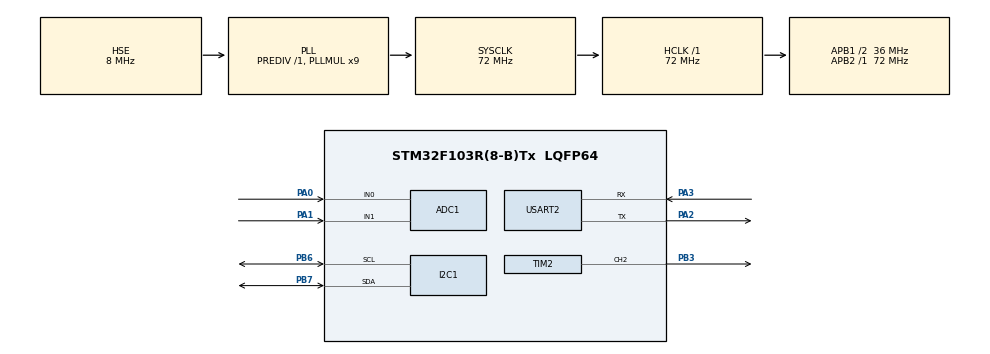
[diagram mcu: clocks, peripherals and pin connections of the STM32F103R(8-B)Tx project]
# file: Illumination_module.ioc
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ADC1.Channel-0\#ChannelRegularConversion=ADC_CHANNEL_0
ADC1.Channel-1\#ChannelRegularConversion=ADC_CHANNEL_1
ADC1.ContinuousConvMode=ENABLE
ADC1.NbrOfConversion=2
ADC1.NbrOfConversionFlag=1
ADC1.Rank-0\#ChannelRegularConversion=1
ADC1.Rank-1\#ChannelRegularConversion=2
ADC1.SamplingTime-0\#ChannelRegularConversion=ADC_SAMPLETIME_71CYCLES_5
ADC1.SamplingTime-1\#ChannelRegularConversion=ADC_SAMPLETIME_71CYCLES_5
ADC1.master=1
Dma.ADC1.0.Direction=DMA_PERIPH_TO_MEMORY
Dma.ADC1.0.Instance=DMA1_Channel1
Dma.ADC1.0.MemDataAlignment=DMA_MDATAALIGN_HALFWORD
Dma.ADC1.0.MemInc=DMA_MINC_ENABLE
Dma.ADC1.0.Mode=DMA_CIRCULAR
Dma.ADC1.0.PeriphDataAlignment=DMA_PDATAALIGN_HALFWORD
Dma.ADC1.0.PeriphInc=DMA_PINC_DISABLE
Dma.ADC1.0.Priority=DMA_PRIORITY_LOW
Dma.Request0=ADC1
Mcu.Family=STM32F1
Mcu.Name=STM32F103R(8-B)Tx
Mcu.Package=LQFP64
NVIC.ADC1_2_IRQn=true\:0\:0\:false\:false\:true\:true\:true
NVIC.DMA1_Channel1_IRQn=true\:0\:0\:false\:false\:true\:false\:true
NVIC.PriorityGroup=NVIC_PRIORITYGROUP_4
PA0-WKUP.Signal=ADCx_IN0
PA1.Signal=ADCx_IN1
PA13.Mode=Serial_Wire
PA13.Signal=SYS_JTMS-SWDIO
PA14.Mode=Serial_Wire
PA14.Signal=SYS_JTCK-SWCLK
PA2.Mode=Asynchronous
PA2.Signal=USART2_TX
PA3.Mode=Asynchronous
PA3.Signal=USART2_RX
PB3.Signal=S_TIM2_CH2
PB6.Mode=I2C
PB6.Signal=I2C1_SCL
PB7.Mode=I2C
PB7.Signal=I2C1_SDA
PC14-OSC32_IN.Mode=LSE-External-Oscillator
PC14-OSC32_IN.Signal=RCC_OSC32_IN
PC15-OSC32_OUT.Mode=LSE-External-Oscillator
PC15-OSC32_OUT.Signal=RCC_OSC32_OUT
PD0-OSC_IN.Mode=HSE-External-Oscillator
PD0-OSC_IN.Signal=RCC_OSC_IN
PD1-OSC_OUT.Mode=HSE-External-Oscillator
PD1-OSC_OUT.Signal=RCC_OSC_OUT
ProjectManager.HeapSize=0x200
ProjectManager.StackSize=0x400
ProjectManager.TargetToolchain=STM32CubeIDE
RCC.ADCPresc=RCC_ADCPCLK2_DIV6
RCC.AHBFreq_Value=72000000
RCC.APB1CLKDivider=RCC_HCLK_DIV2
RCC.APB1Freq_Value=36000000
RCC.APB1TimFreq_Value=72000000
RCC.APB2Freq_Value=72000000
RCC.APB2TimFreq_Value=72000000
RCC.HCLKFreq_Value=72000000
RCC.PLLMUL=RCC_PLL_MUL9
RCC.PLLSourceVirtual=RCC_PLLSOURCE_HSE
RCC.SYSCLKFreq_VALUE=72000000
RCC.SYSCLKSource=RCC_SYSCLKSOURCE_PLLCLK
RCC.USBFreq_Value=72000000
SH.ADCx_IN0.0=ADC1_IN0,IN0
SH.ADCx_IN1.0=ADC1_IN1,IN1
SH.S_TIM2_CH2.0=TIM2_CH2,PWM Generation2 CH2
TIM2.Channel-PWM\ Generation2\ CH2=TIM_CHANNEL_2
TIM2.OCPolarity_2=TIM_OCPOLARITY_LOW
TIM2.Period=1000-1
TIM2.Prescaler=72-1
USART2.VirtualMode=VM_ASYNC
board=custom

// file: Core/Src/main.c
/* USER CODE BEGIN Header */
/**
  ******************************************************************************
  * @file           : main.c
  * @brief          : Main program body
  ******************************************************************************
  * @attention
  *
  * <h2><center>&copy; Copyright (c) 2021 STMicroelectronics.
  * All rights reserved.</center></h2>
  *
  * This software component is licensed by ST under BSD 3-Clause license,
  * the "License"; You may not use this file except in compliance with the
  * License. You may obtain a copy of the License at:
  *                        opensource.org/licenses/BSD-3-Clause
  *
  ******************************************************************************
  */
/* USER CODE END Header */
#include "main.h"
#include "adc.h"
#include "dma.h"
#include "i2c.h"
#include "tim.h"
#include "usart.h"
#include "gpio.h"

/* USER CODE BEGIN Includes */
#include "stdio.h"	//printf function
#include "string.h"

/* USER CODE END Includes */

void SystemClock_Config(void);

/* USER CODE BEGIN 0 */
#ifdef __GNUC__
#define PUTCHAR_PROTOTYPE int __io_putchar(int ch)
#else
#define PUTCHAR_PROTOTYPE int fputc(int ch, FILE *f)
#endif

PUTCHAR_PROTOTYPE
{
    HAL_UART_Transmit(&huart2, (uint8_t *)&ch, 1 , 0xffff);
    return ch;
}

/* USER CODE END 0 */

int main(void)
{
  /* USER CODE BEGIN 1 */
	uint16_t adc_buf[2];
	float PA0_Vlotage;
	float PA1_Vlotage;
	float led_pwm = 250;
  /* USER CODE END 1 */

  /* MCU Configuration--------------------------------------------------------*/

  /* Reset of all peripherals, Initializes the Flash interface and the Systick. */
  HAL_Init();

  /* Configure the system clock */
  SystemClock_Config();

  /* Initialize all configured peripherals */
  MX_GPIO_Init();
  MX_DMA_Init();
  MX_ADC1_Init();
  MX_I2C1_Init();
  MX_USART2_UART_Init();
  MX_TIM2_Init();
  /* USER CODE BEGIN 2 */
  HAL_ADC_Start_DMA(&hadc1, adc_buf, 2);	//&hadc1, saved in adc_buf, length 2
  HAL_TIM_PWM_Start(&htim2,TIM_CHANNEL_2);
  lcd_init();
  /* USER CODE END 2 */

  /* Infinite loop */
  while (1)
  {

    /* USER CODE BEGIN 3 */

	  PA0_Vlotage = adc_buf[0]*(3.3/4096);
	  PA1_Vlotage = adc_buf[1]*(3.3/4096);
	  printf("\n PA0 Voltage is %.2f v\t\r\n PA1 Voltage is %.2f v\r\n\t",PA0_Vlotage,PA1_Vlotage);
	 // HAL_Delay(500);

	  //LCD显示光照参数
		char* buffer[2];
		sprintf(buffer, "%.1f", PA0_Vlotage*107);
		lcd_send_string("LM:");
		lcd_send_string(buffer);
		lcd_put_cur(0,0);
		HAL_Delay(100);

		//PWM led running
		__HAL_TIM_SET_COMPARE(&htim2,TIM_CHANNEL_2,PA0_Vlotage*520);

	 /* HCSR04_Read();
	  lcd_send_data((Distance/100) + 48);   // 100th pos
	  lcd_send_data(((Distance/10)%10) +48);  // 10th pos
	  lcd_send_data((Distance%10)+48);  // 1st pos
	  lcd_send_string(" cm");
	  HAL_Delay(200);*/
  }
  /* USER CODE END 3 */
}

void SystemClock_Config(void)
{
  RCC_OscInitTypeDef RCC_OscInitStruct = {0};
  RCC_ClkInitTypeDef RCC_ClkInitStruct = {0};
  RCC_PeriphCLKInitTypeDef PeriphClkInit = {0};

  /** Initializes the RCC Oscillators according to the specified parameters
  * in the RCC_OscInitTypeDef structure.
  */
  RCC_OscInitStruct.OscillatorType = RCC_OSCILLATORTYPE_HSE;
  RCC_OscInitStruct.HSEState = RCC_HSE_ON;
  RCC_OscInitStruct.HSEPredivValue = RCC_HSE_PREDIV_DIV1;
  RCC_OscInitStruct.HSIState = RCC_HSI_ON;
  RCC_OscInitStruct.PLL.PLLState = RCC_PLL_ON;
  RCC_OscInitStruct.PLL.PLLSource = RCC_PLLSOURCE_HSE;
  RCC_OscInitStruct.PLL.PLLMUL = RCC_PLL_MUL9;
  if (HAL_RCC_OscConfig(&RCC_OscInitStruct) != HAL_OK)
  {
    Error_Handler();
  }
  /** Initializes the CPU, AHB and APB buses clocks
  */
  RCC_ClkInitStruct.ClockType = RCC_CLOCKTYPE_HCLK|RCC_CLOCKTYPE_SYSCLK
                              |RCC_CLOCKTYPE_PCLK1|RCC_CLOCKTYPE_PCLK2;
  RCC_ClkInitStruct.SYSCLKSource = RCC_SYSCLKSOURCE_PLLCLK;
  RCC_ClkInitStruct.AHBCLKDivider = RCC_SYSCLK_DIV1;
  RCC_ClkInitStruct.APB1CLKDivider = RCC_HCLK_DIV2;
  RCC_ClkInitStruct.APB2CLKDivider = RCC_HCLK_DIV1;

  if (HAL_RCC_ClockConfig(&RCC_ClkInitStruct, FLASH_LATENCY_2) != HAL_OK)
  {
    Error_Handler();
  }
  PeriphClkInit.PeriphClockSelection = RCC_PERIPHCLK_ADC;
  PeriphClkInit.AdcClockSelection = RCC_ADCPCLK2_DIV6;
  if (HAL_RCCEx_PeriphCLKConfig(&PeriphClkInit) != HAL_OK)
  {
    Error_Handler();
  }
}

void Error_Handler(void)
{
}

/************************ (C) COPYRIGHT STMicroelectronics *****END OF FILE****/
